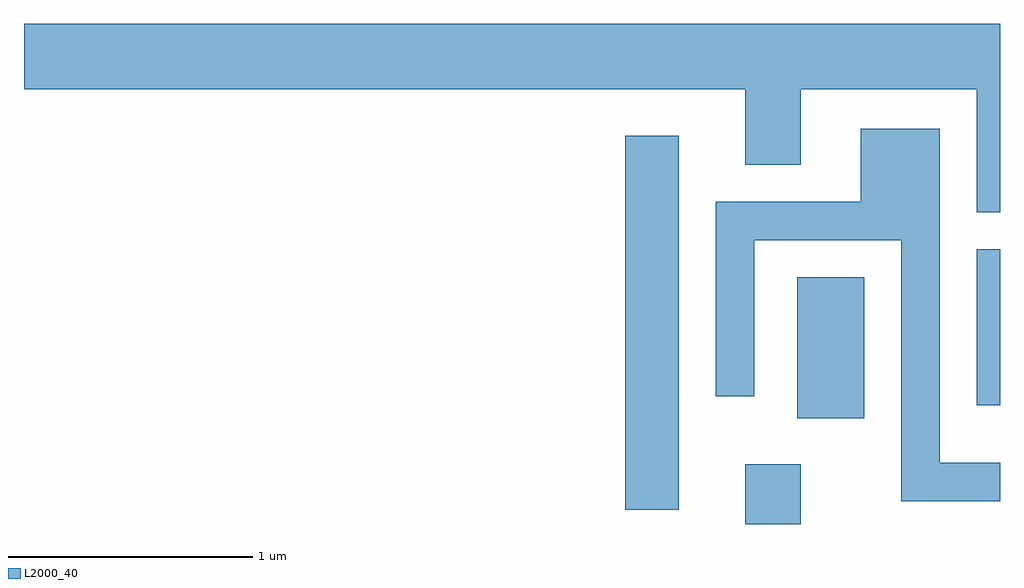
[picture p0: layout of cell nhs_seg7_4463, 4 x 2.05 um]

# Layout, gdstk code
import gdstk
lib = gdstk.Library(unit=1e-6, precision=1e-09)
def R(c, l, rs):  # rectangles x0, y0, x1, y1
    for r in rs: c.add(gdstk.rectangle(r[:2], r[2:], *l))
def P(c, l, *ps):  # polygons
    for p in ps: c.add(gdstk.Polygon(p, *l))
L2000_40 = (2000, 40)

nhs_seg7_4463 = lib.new_cell('nhs_seg7_4463')
R(nhs_seg7_4463, L2000_40, [(324.566,1770.252,324.794,1770.499), (324.076,1770.311,324.294,1771.844), (324.781,1770.686,325.054,1771.264), (325.516,1770.741,325.611,1771.379)])
P(nhs_seg7_4463, L2000_40, [(325.611,1772.304),(321.611,1772.304),(321.611,1772.036),(324.566,1772.036),(324.566,1771.726),(324.794,1771.726),(324.794,1772.036),(325.516,1772.036),(325.516,1771.531),(325.611,1771.531)],
  [(325.611,1770.504),(325.364,1770.504),(325.364,1771.874),(325.041,1771.874),(325.041,1771.574),(324.446,1771.574),(324.446,1770.778),(324.604,1770.778),(324.604,1771.416),(325.206,1771.416),(325.206,1770.346),(325.611,1770.346)])

lib.write_gds('nhs_seg7_4463.gds')
